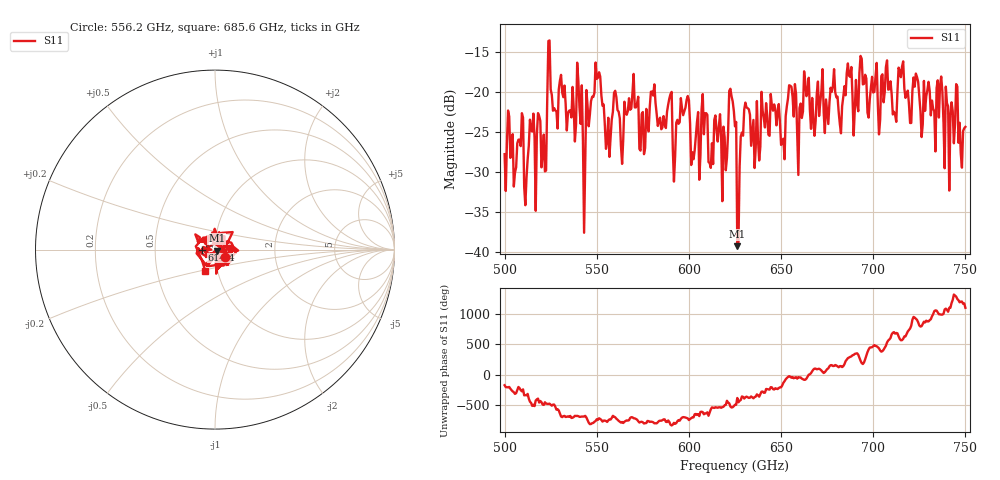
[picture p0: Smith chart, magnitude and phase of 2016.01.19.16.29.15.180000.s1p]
!Created with skrf (http://scikit-rf.org).
# GHz S RI R 50.0
!freq ReS11 ImS11
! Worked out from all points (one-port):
!   401 points, 500 GHz to 750 GHz, reference 50 ohm
!   lowest |S11| = -39.3 dB at 626.2 GHz (marker M1), VSWR 1.02, Z = 51 - j0.515 ohm
!   |S11| at or under -10 dB: start of sweep to end of sweep
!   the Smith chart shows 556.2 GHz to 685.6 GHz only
!   S11 on the Smith chart (normalised r, x): 556.2 GHz: 1.11, -0.09; 614.4 GHz: 0.87, -0.00; 685.6 GHz: 0.87, -0.21
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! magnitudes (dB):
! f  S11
! 500 GHz  -27.8
! 521.2 GHz  -25.3
! 524.4 GHz  -13.6
! 527.5 GHz  -22.3
! 531.2 GHz  -20.1
! 540.6 GHz  -21.9
! 542.5 GHz  -26.1
! 550.6 GHz  -18.2
! 556.2 GHz  -23.2
! 560 GHz  -19.9
! 562.5 GHz  -23.3
! 580.6 GHz  -20.5
! 593.8 GHz  -23.5
! 614.4 GHz  -23.0
! 619.4 GHz  -25.6
! 623.1 GHz  -20.6
! 625 GHz  -24.3
! 626.2 GHz  -39.3
! 631.2 GHz  -21.9
! 650.6 GHz  -26.3
! 656.2 GHz  -20.7
! 660 GHz  -22.0
! 663.8 GHz  -20.5
! 667.5 GHz  -23.3
! 685.6 GHz  -17.7
! 687.5 GHz  -18.1
! 718.8 GHz  -19.9
! 750 GHz  -24.4
